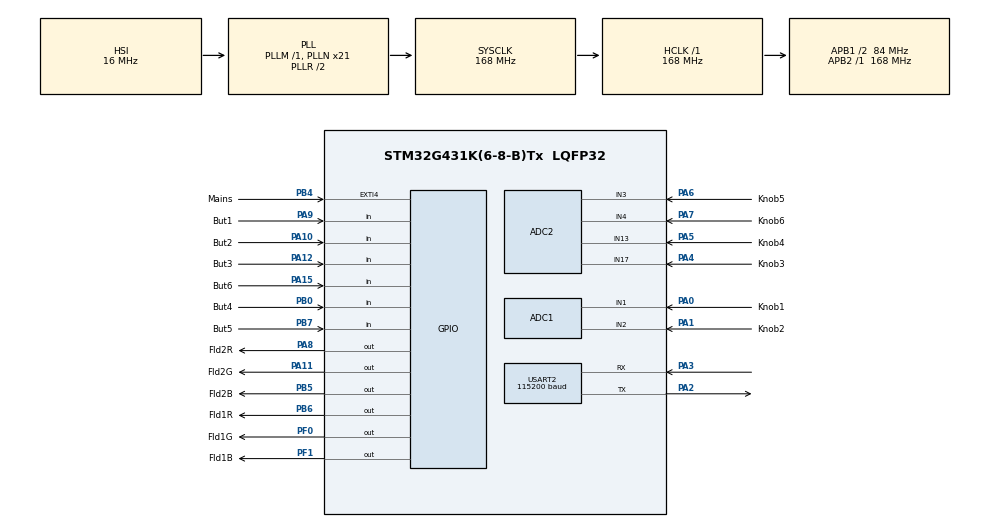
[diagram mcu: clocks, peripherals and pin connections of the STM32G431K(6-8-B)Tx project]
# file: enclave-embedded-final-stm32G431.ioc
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ADC1.Channel-1\#ChannelRegularConversion=ADC_CHANNEL_1
ADC1.ClockPrescaler=ADC_CLOCK_ASYNC_DIV4
ADC1.NbrOfConversionFlag=1
ADC1.OffsetNumber-1\#ChannelRegularConversion=ADC_OFFSET_NONE
ADC1.Rank-1\#ChannelRegularConversion=1
ADC1.SamplingTime-1\#ChannelRegularConversion=ADC_SAMPLETIME_2CYCLES_5
ADC1.master=1
ADC2.Channel-1\#ChannelRegularConversion=ADC_CHANNEL_3
ADC2.ClockPrescaler=ADC_CLOCK_ASYNC_DIV4
ADC2.NbrOfConversionFlag=1
ADC2.OffsetNumber-1\#ChannelRegularConversion=ADC_OFFSET_NONE
ADC2.Rank-1\#ChannelRegularConversion=1
ADC2.SamplingTime-1\#ChannelRegularConversion=ADC_SAMPLETIME_2CYCLES_5
Dma.Request0=USART2_RX
Dma.Request1=USART2_TX
Dma.USART2_RX.0.Direction=DMA_PERIPH_TO_MEMORY
Dma.USART2_RX.0.EventEnable=DISABLE
Dma.USART2_RX.0.Instance=DMA1_Channel5
Dma.USART2_RX.0.MemDataAlignment=DMA_MDATAALIGN_BYTE
Dma.USART2_RX.0.MemInc=DMA_MINC_ENABLE
Dma.USART2_RX.0.Mode=DMA_NORMAL
Dma.USART2_RX.0.PeriphDataAlignment=DMA_PDATAALIGN_BYTE
Dma.USART2_RX.0.PeriphInc=DMA_PINC_DISABLE
Dma.USART2_RX.0.Polarity=HAL_DMAMUX_REQ_GEN_RISING
Dma.USART2_RX.0.Priority=DMA_PRIORITY_LOW
Dma.USART2_RX.0.RequestNumber=1
Dma.USART2_RX.0.SignalID=NONE
Dma.USART2_RX.0.SyncEnable=DISABLE
Dma.USART2_RX.0.SyncPolarity=HAL_DMAMUX_SYNC_NO_EVENT
Dma.USART2_RX.0.SyncRequestNumber=1
Dma.USART2_RX.0.SyncSignalID=NONE
Dma.USART2_TX.1.Direction=DMA_MEMORY_TO_PERIPH
Dma.USART2_TX.1.EventEnable=DISABLE
Dma.USART2_TX.1.Instance=DMA1_Channel6
Dma.USART2_TX.1.MemDataAlignment=DMA_MDATAALIGN_BYTE
Dma.USART2_TX.1.MemInc=DMA_MINC_ENABLE
Dma.USART2_TX.1.Mode=DMA_NORMAL
Dma.USART2_TX.1.PeriphDataAlignment=DMA_PDATAALIGN_BYTE
Dma.USART2_TX.1.PeriphInc=DMA_PINC_DISABLE
Dma.USART2_TX.1.Polarity=HAL_DMAMUX_REQ_GEN_RISING
Dma.USART2_TX.1.Priority=DMA_PRIORITY_LOW
Dma.USART2_TX.1.RequestNumber=1
Dma.USART2_TX.1.SignalID=NONE
Dma.USART2_TX.1.SyncEnable=DISABLE
Dma.USART2_TX.1.SyncPolarity=HAL_DMAMUX_SYNC_NO_EVENT
Dma.USART2_TX.1.SyncRequestNumber=1
Dma.USART2_TX.1.SyncSignalID=NONE
Mcu.Family=STM32G4
Mcu.Name=STM32G431K(6-8-B)Tx
Mcu.Package=LQFP32
NVIC.DMA1_Channel5_IRQn=true\:0\:0\:false\:false\:true\:false\:true\:true
NVIC.DMA1_Channel6_IRQn=true\:0\:0\:false\:false\:true\:false\:true\:true
NVIC.EXTI4_IRQn=true\:0\:0\:false\:false\:true\:true\:true\:true
NVIC.PriorityGroup=NVIC_PRIORITYGROUP_4
NVIC.TIM2_IRQn=true\:0\:0\:false\:false\:true\:true\:true\:true
NVIC.TIM3_IRQn=true\:0\:0\:false\:false\:true\:true\:true\:true
NVIC.TIM4_IRQn=true\:0\:0\:false\:false\:true\:true\:true\:true
NVIC.USART2_IRQn=true\:0\:0\:false\:false\:true\:true\:true\:true
PA0.GPIO_Label=Knob1
PA0.Mode=IN1-Single-Ended
PA0.Signal=ADC1_IN1
PA1.GPIO_Label=Knob2
PA1.Mode=IN2-Single-Ended
PA1.Signal=ADC1_IN2
PA10.GPIO_Label=But2
PA10.GPIO_PuPd=GPIO_PULLDOWN
PA10.Signal=GPIO_Input
PA11.GPIO_Label=Fld2G
PA11.GPIO_Speed=GPIO_SPEED_FREQ_VERY_HIGH
PA11.Signal=GPIO_Output
PA12.GPIO_Label=But3
PA12.GPIO_PuPd=GPIO_PULLDOWN
PA12.Signal=GPIO_Input
PA15.GPIO_Label=But6
PA15.GPIO_PuPd=GPIO_PULLDOWN
PA15.Signal=GPIO_Input
PA2.Mode=Asynchronous
PA2.Signal=USART2_TX
PA3.Mode=Asynchronous
PA3.Signal=USART2_RX
PA4.GPIO_Label=Knob3
PA4.Mode=IN17-Single-Ended
PA4.Signal=ADC2_IN17
PA5.GPIO_Label=Knob4
PA5.Mode=IN13-Single-Ended
PA5.Signal=ADC2_IN13
PA6.GPIO_Label=Knob5
PA6.Mode=IN3-Single-Ended
PA6.Signal=ADC2_IN3
PA7.GPIO_Label=Knob6
PA7.Mode=IN4-Single-Ended
PA7.Signal=ADC2_IN4
PA8.GPIO_Label=Fld2R
PA8.GPIO_Speed=GPIO_SPEED_FREQ_VERY_HIGH
PA8.Signal=GPIO_Output
PA9.GPIO_Label=But1
PA9.GPIO_PuPd=GPIO_PULLDOWN
PA9.Signal=GPIO_Input
PB0.GPIO_Label=But4
PB0.GPIO_PuPd=GPIO_PULLDOWN
PB0.Signal=GPIO_Input
PB4.GPIO_Label=Mains
PB4.Signal=GPXTI4
PB5.GPIO_Label=Fld2B
PB5.GPIO_Speed=GPIO_SPEED_FREQ_VERY_HIGH
PB5.Signal=GPIO_Output
PB6.GPIO_Label=Fld1R
PB6.GPIO_Speed=GPIO_SPEED_FREQ_VERY_HIGH
PB6.Signal=GPIO_Output
PB7.GPIO_Label=But5
PB7.GPIO_PuPd=GPIO_PULLDOWN
PB7.Signal=GPIO_Input
PF0-OSC_IN.GPIO_Label=Fld1G
PF0-OSC_IN.GPIO_Speed=GPIO_SPEED_FREQ_VERY_HIGH
PF0-OSC_IN.PinState=GPIO_PIN_RESET
PF0-OSC_IN.Signal=GPIO_Output
PF1-OSC_OUT.GPIO_Label=Fld1B
PF1-OSC_OUT.GPIO_Speed=GPIO_SPEED_FREQ_VERY_HIGH
PF1-OSC_OUT.PinState=GPIO_PIN_RESET
PF1-OSC_OUT.Signal=GPIO_Output
ProjectManager.HeapSize=0x200
ProjectManager.StackSize=0x400
ProjectManager.TargetToolchain=STM32CubeIDE
RCC.ADC12Freq_Value=168000000
RCC.AHBFreq_Value=168000000
RCC.APB1CLKDivider=RCC_HCLK_DIV2
RCC.APB1Freq_Value=84000000
RCC.APB1TimFreq_Value=168000000
RCC.APB2Freq_Value=168000000
RCC.APB2TimFreq_Value=168000000
RCC.CortexFreq_Value=168000000
RCC.EXTERNAL_CLOCK_VALUE=12288000
RCC.HCLKFreq_Value=168000000
RCC.HSE_VALUE=8000000
RCC.HSI48_VALUE=48000000
RCC.HSI_VALUE=16000000
RCC.LSE_VALUE=32768
RCC.PLLN=21
RCC.SYSCLKFreq_VALUE=168000000
RCC.SYSCLKSource=RCC_SYSCLKSOURCE_PLLCLK
RCC.USBFreq_Value=168000000
RCC.VCOOutputFreq_Value=336000000
TIM2.AutoReloadPreload=TIM_AUTORELOAD_PRELOAD_ENABLE
TIM2.PeriodNoDither=7
TIM2.Prescaler=666
TIM3.AutoReloadPreload=TIM_AUTORELOAD_PRELOAD_ENABLE
TIM3.CounterMode=TIM_COUNTERMODE_UP
TIM3.PeriodNoDither=3999
TIM3.Prescaler=4199
TIM4.AutoReloadPreload=TIM_AUTORELOAD_PRELOAD_ENABLE
TIM4.PeriodNoDither=249
TIM4.Prescaler=839
USART2.BaudRate=115200
USART2.VirtualMode-Asynchronous=VM_ASYNC
VP_TIM2_VS_ClockSourceINT.Mode=Internal
VP_TIM3_VS_ClockSourceINT.Mode=Internal
VP_TIM4_VS_ClockSourceINT.Mode=Internal
board=custom

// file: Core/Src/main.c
/* USER CODE BEGIN Header */
/**
  ******************************************************************************
  * @file           : main.c
  * @brief          : Main program body
  ******************************************************************************
  * @attention
  *
  * Copyright (c) 2023 STMicroelectronics.
  * All rights reserved.
  *
  * This software is licensed under terms that can be found in the LICENSE file
  * in the root directory of this software component.
  * If no LICENSE file comes with this software, it is provided AS-IS.
  *
  ******************************************************************************
  */
/* USER CODE END Header */
#include "main.h"

/* USER CODE BEGIN Includes */
#include "math.h"
#include <stdlib.h>
#include "app_usart.h"
#include "floodlight.h"
#include "ui.h"
/* USER CODE END Includes */

ADC_HandleTypeDef hadc1;
ADC_HandleTypeDef hadc2;

TIM_HandleTypeDef htim2;
TIM_HandleTypeDef htim3;
TIM_HandleTypeDef htim4;

UART_HandleTypeDef huart2;
DMA_HandleTypeDef hdma_usart2_rx;
DMA_HandleTypeDef hdma_usart2_tx;

void SystemClock_Config(void);
static void MX_GPIO_Init(void);
static void MX_DMA_Init(void);
static void MX_ADC1_Init(void);
static void MX_ADC2_Init(void);
static void MX_TIM2_Init(void);
static void MX_TIM4_Init(void);
static void MX_TIM3_Init(void);
static void MX_USART2_UART_Init(void);

/* USER CODE BEGIN 0 */

volatile uint32_t *DWT_CONTROL = (uint32_t*) 0xE0001000;
volatile uint32_t *DWT_CYCCNT = (uint32_t*) 0xE0001004;
volatile uint32_t *DEMCR = (uint32_t*) 0xE000EDFC;
volatile uint32_t *LAR = (uint32_t*) 0xE0001FB0; // <-- added lock access register

void HAL_TIM_PeriodElapsedCallback(TIM_HandleTypeDef *htim) {
	if(isFloodlightRdy() && htim->Instance == TIM2) {
			pulseFloodlight();
	}
	if (isKnobsRdy() && htim->Instance == TIM3) {
		//Every 1/10 of a second
		pollKnobs();
	}
	else if (isButRdy() && htim->Instance == TIM4) {
		//Every 2ms
		debounceButtons();
	}
}
/* USER CODE END 0 */

int main(void)
{

  /* MCU Configuration--------------------------------------------------------*/

  /* Reset of all peripherals, Initializes the Flash interface and the Systick. */
  HAL_Init();

  /* Configure the system clock */
  SystemClock_Config();

  /* Initialize all configured peripherals */
  MX_GPIO_Init();
  MX_DMA_Init();
  MX_ADC1_Init();
  MX_ADC2_Init();
  MX_TIM2_Init();
  MX_TIM4_Init();
  MX_TIM3_Init();
  MX_USART2_UART_Init();
  /* USER CODE BEGIN 2 */
	//Start interrupts & ADC
	HAL_ADCEx_Calibration_Start(&hadc1, ADC_SINGLE_ENDED);
	HAL_ADCEx_Calibration_Start(&hadc2, ADC_SINGLE_ENDED);
	app_uart_init(&huart2);

	*DEMCR = *DEMCR | 0x01000000;     // enable trace
	*LAR = 0xC5ACCE55;    // <-- added unlock access to DWT (ITM, etc.)registers
	*DWT_CYCCNT = 0;                  // clear DWT cycle counter
	*DWT_CONTROL = *DWT_CONTROL | 1;  // enable DWT cycle counter

	//If fails config, exit program
	if (initializeFloodlightStructs())
		return 0;

	//If fails config, exit program
	if (initializeKnobStructs())
		return 0;

	//If fails config, exit program
	if (initializeButtonStructs())
		return 0;

	HAL_TIM_Base_Start_IT(&htim2);
	HAL_TIM_Base_Start_IT(&htim3);
	HAL_TIM_Base_Start_IT(&htim4);

  /* USER CODE END 2 */

  /* Infinite loop */
	while (1) {

    /* USER CODE BEGIN 3 */
		// Read all messages in buffer
		while(is_cmd_rdy())
		{
			light_cmd_t cmd = get_cmd();
			updateFloodlight(cmd.lightIdx, cmd.R, cmd.G, cmd.B);
		}
	}
  /* USER CODE END 3 */
}

void SystemClock_Config(void)
{
  RCC_OscInitTypeDef RCC_OscInitStruct = {0};
  RCC_ClkInitTypeDef RCC_ClkInitStruct = {0};

  /** Configure the main internal regulator output voltage
  */
  HAL_PWREx_ControlVoltageScaling(PWR_REGULATOR_VOLTAGE_SCALE1_BOOST);

  /** Initializes the RCC Oscillators according to the specified parameters
  * in the RCC_OscInitTypeDef structure.
  */
  RCC_OscInitStruct.OscillatorType = RCC_OSCILLATORTYPE_HSI;
  RCC_OscInitStruct.HSIState = RCC_HSI_ON;
  RCC_OscInitStruct.HSICalibrationValue = RCC_HSICALIBRATION_DEFAULT;
  RCC_OscInitStruct.PLL.PLLState = RCC_PLL_ON;
  RCC_OscInitStruct.PLL.PLLSource = RCC_PLLSOURCE_HSI;
  RCC_OscInitStruct.PLL.PLLM = RCC_PLLM_DIV1;
  RCC_OscInitStruct.PLL.PLLN = 21;
  RCC_OscInitStruct.PLL.PLLP = RCC_PLLP_DIV2;
  RCC_OscInitStruct.PLL.PLLQ = RCC_PLLQ_DIV2;
  RCC_OscInitStruct.PLL.PLLR = RCC_PLLR_DIV2;
  if (HAL_RCC_OscConfig(&RCC_OscInitStruct) != HAL_OK)
  {
    Error_Handler();
  }

  /** Initializes the CPU, AHB and APB buses clocks
  */
  RCC_ClkInitStruct.ClockType = RCC_CLOCKTYPE_HCLK|RCC_CLOCKTYPE_SYSCLK
                              |RCC_CLOCKTYPE_PCLK1|RCC_CLOCKTYPE_PCLK2;
  RCC_ClkInitStruct.SYSCLKSource = RCC_SYSCLKSOURCE_PLLCLK;
  RCC_ClkInitStruct.AHBCLKDivider = RCC_SYSCLK_DIV1;
  RCC_ClkInitStruct.APB1CLKDivider = RCC_HCLK_DIV2;
  RCC_ClkInitStruct.APB2CLKDivider = RCC_HCLK_DIV1;

  if (HAL_RCC_ClockConfig(&RCC_ClkInitStruct, FLASH_LATENCY_4) != HAL_OK)
  {
    Error_Handler();
  }
}

static void MX_ADC1_Init(void)
{

  ADC_MultiModeTypeDef multimode = {0};
  ADC_ChannelConfTypeDef sConfig = {0};

  /** Common config
  */
  hadc1.Instance = ADC1;
  hadc1.Init.ClockPrescaler = ADC_CLOCK_ASYNC_DIV4;
  hadc1.Init.Resolution = ADC_RESOLUTION_12B;
  hadc1.Init.DataAlign = ADC_DATAALIGN_RIGHT;
  hadc1.Init.GainCompensation = 0;
  hadc1.Init.ScanConvMode = ADC_SCAN_DISABLE;
  hadc1.Init.EOCSelection = ADC_EOC_SINGLE_CONV;
  hadc1.Init.LowPowerAutoWait = DISABLE;
  hadc1.Init.ContinuousConvMode = DISABLE;
  hadc1.Init.NbrOfConversion = 1;
  hadc1.Init.DiscontinuousConvMode = DISABLE;
  hadc1.Init.ExternalTrigConv = ADC_SOFTWARE_START;
  hadc1.Init.ExternalTrigConvEdge = ADC_EXTERNALTRIGCONVEDGE_NONE;
  hadc1.Init.DMAContinuousRequests = DISABLE;
  hadc1.Init.Overrun = ADC_OVR_DATA_PRESERVED;
  hadc1.Init.OversamplingMode = DISABLE;
  if (HAL_ADC_Init(&hadc1) != HAL_OK)
  {
    Error_Handler();
  }

  /** Configure the ADC multi-mode
  */
  multimode.Mode = ADC_MODE_INDEPENDENT;
  if (HAL_ADCEx_MultiModeConfigChannel(&hadc1, &multimode) != HAL_OK)
  {
    Error_Handler();
  }

  /** Configure Regular Channel
  */
  sConfig.Channel = ADC_CHANNEL_1;
  sConfig.Rank = ADC_REGULAR_RANK_1;
  sConfig.SamplingTime = ADC_SAMPLETIME_2CYCLES_5;
  sConfig.SingleDiff = ADC_SINGLE_ENDED;
  sConfig.OffsetNumber = ADC_OFFSET_NONE;
  sConfig.Offset = 0;
  if (HAL_ADC_ConfigChannel(&hadc1, &sConfig) != HAL_OK)
  {
    Error_Handler();
  }

}

static void MX_ADC2_Init(void)
{

  ADC_ChannelConfTypeDef sConfig = {0};

  /** Common config
  */
  hadc2.Instance = ADC2;
  hadc2.Init.ClockPrescaler = ADC_CLOCK_ASYNC_DIV4;
  hadc2.Init.Resolution = ADC_RESOLUTION_12B;
  hadc2.Init.DataAlign = ADC_DATAALIGN_RIGHT;
  hadc2.Init.GainCompensation = 0;
  hadc2.Init.ScanConvMode = ADC_SCAN_DISABLE;
  hadc2.Init.EOCSelection = ADC_EOC_SINGLE_CONV;
  hadc2.Init.LowPowerAutoWait = DISABLE;
  hadc2.Init.ContinuousConvMode = DISABLE;
  hadc2.Init.NbrOfConversion = 1;
  hadc2.Init.DiscontinuousConvMode = DISABLE;
  hadc2.Init.ExternalTrigConv = ADC_SOFTWARE_START;
  hadc2.Init.ExternalTrigConvEdge = ADC_EXTERNALTRIGCONVEDGE_NONE;
  hadc2.Init.DMAContinuousRequests = DISABLE;
  hadc2.Init.Overrun = ADC_OVR_DATA_PRESERVED;
  hadc2.Init.OversamplingMode = DISABLE;
  if (HAL_ADC_Init(&hadc2) != HAL_OK)
  {
    Error_Handler();
  }

  /** Configure Regular Channel
  */
  sConfig.Channel = ADC_CHANNEL_3;
  sConfig.Rank = ADC_REGULAR_RANK_1;
  sConfig.SamplingTime = ADC_SAMPLETIME_2CYCLES_5;
  sConfig.SingleDiff = ADC_SINGLE_ENDED;
  sConfig.OffsetNumber = ADC_OFFSET_NONE;
  sConfig.Offset = 0;
  if (HAL_ADC_ConfigChannel(&hadc2, &sConfig) != HAL_OK)
  {
    Error_Handler();
  }

}

static void MX_TIM2_Init(void)
{

  TIM_ClockConfigTypeDef sClockSourceConfig = {0};
  TIM_MasterConfigTypeDef sMasterConfig = {0};

  htim2.Instance = TIM2;
  htim2.Init.Prescaler = 666;
  htim2.Init.CounterMode = TIM_COUNTERMODE_UP;
  htim2.Init.Period = 7;
  htim2.Init.ClockDivision = TIM_CLOCKDIVISION_DIV1;
  htim2.Init.AutoReloadPreload = TIM_AUTORELOAD_PRELOAD_ENABLE;
  if (HAL_TIM_Base_Init(&htim2) != HAL_OK)
  {
    Error_Handler();
  }
  sClockSourceConfig.ClockSource = TIM_CLOCKSOURCE_INTERNAL;
  if (HAL_TIM_ConfigClockSource(&htim2, &sClockSourceConfig) != HAL_OK)
  {
    Error_Handler();
  }
  sMasterConfig.MasterOutputTrigger = TIM_TRGO_RESET;
  sMasterConfig.MasterSlaveMode = TIM_MASTERSLAVEMODE_DISABLE;
  if (HAL_TIMEx_MasterConfigSynchronization(&htim2, &sMasterConfig) != HAL_OK)
  {
    Error_Handler();
  }

}

static void MX_TIM3_Init(void)
{

  TIM_ClockConfigTypeDef sClockSourceConfig = {0};
  TIM_MasterConfigTypeDef sMasterConfig = {0};

  htim3.Instance = TIM3;
  htim3.Init.Prescaler = 4199;
  htim3.Init.CounterMode = TIM_COUNTERMODE_UP;
  htim3.Init.Period = 2000;
  htim3.Init.ClockDivision = TIM_CLOCKDIVISION_DIV1;
  htim3.Init.AutoReloadPreload = TIM_AUTORELOAD_PRELOAD_ENABLE;
  if (HAL_TIM_Base_Init(&htim3) != HAL_OK)
  {
    Error_Handler();
  }
  sClockSourceConfig.ClockSource = TIM_CLOCKSOURCE_INTERNAL;
  if (HAL_TIM_ConfigClockSource(&htim3, &sClockSourceConfig) != HAL_OK)
  {
    Error_Handler();
  }
  sMasterConfig.MasterOutputTrigger = TIM_TRGO_RESET;
  sMasterConfig.MasterSlaveMode = TIM_MASTERSLAVEMODE_DISABLE;
  if (HAL_TIMEx_MasterConfigSynchronization(&htim3, &sMasterConfig) != HAL_OK)
  {
    Error_Handler();
  }

}

static void MX_TIM4_Init(void)
{

  TIM_ClockConfigTypeDef sClockSourceConfig = {0};
  TIM_MasterConfigTypeDef sMasterConfig = {0};

  htim4.Instance = TIM4;
  htim4.Init.Prescaler = 839;
  htim4.Init.CounterMode = TIM_COUNTERMODE_UP;
  htim4.Init.Period = 249;
  htim4.Init.ClockDivision = TIM_CLOCKDIVISION_DIV1;
  htim4.Init.AutoReloadPreload = TIM_AUTORELOAD_PRELOAD_ENABLE;
  if (HAL_TIM_Base_Init(&htim4) != HAL_OK)
  {
    Error_Handler();
  }
  sClockSourceConfig.ClockSource = TIM_CLOCKSOURCE_INTERNAL;
  if (HAL_TIM_ConfigClockSource(&htim4, &sClockSourceConfig) != HAL_OK)
  {
    Error_Handler();
  }
  sMasterConfig.MasterOutputTrigger = TIM_TRGO_RESET;
  sMasterConfig.MasterSlaveMode = TIM_MASTERSLAVEMODE_DISABLE;
  if (HAL_TIMEx_MasterConfigSynchronization(&htim4, &sMasterConfig) != HAL_OK)
  {
    Error_Handler();
  }

}

static void MX_USART2_UART_Init(void)
{

  huart2.Instance = USART2;
  huart2.Init.BaudRate = 115200;
  huart2.Init.WordLength = UART_WORDLENGTH_8B;
  huart2.Init.StopBits = UART_STOPBITS_1;
  huart2.Init.Parity = UART_PARITY_NONE;
  huart2.Init.Mode = UART_MODE_TX_RX;
  huart2.Init.HwFlowCtl = UART_HWCONTROL_NONE;
  huart2.Init.OverSampling = UART_OVERSAMPLING_16;
  huart2.Init.OneBitSampling = UART_ONE_BIT_SAMPLE_DISABLE;
  huart2.Init.ClockPrescaler = UART_PRESCALER_DIV1;
  huart2.AdvancedInit.AdvFeatureInit = UART_ADVFEATURE_NO_INIT;
  if (HAL_UART_Init(&huart2) != HAL_OK)
  {
    Error_Handler();
  }
  if (HAL_UARTEx_SetTxFifoThreshold(&huart2, UART_TXFIFO_THRESHOLD_1_8) != HAL_OK)
  {
    Error_Handler();
  }
  if (HAL_UARTEx_SetRxFifoThreshold(&huart2, UART_RXFIFO_THRESHOLD_1_8) != HAL_OK)
  {
    Error_Handler();
  }
  if (HAL_UARTEx_DisableFifoMode(&huart2) != HAL_OK)
  {
    Error_Handler();
  }

}

static void MX_DMA_Init(void)
{

  /* DMA controller clock enable */
  __HAL_RCC_DMAMUX1_CLK_ENABLE();
  __HAL_RCC_DMA1_CLK_ENABLE();

  /* DMA interrupt init */
  /* DMA1_Channel5_IRQn interrupt configuration */
  HAL_NVIC_SetPriority(DMA1_Channel5_IRQn, 0, 0);
  HAL_NVIC_EnableIRQ(DMA1_Channel5_IRQn);
  /* DMA1_Channel6_IRQn interrupt configuration */
  HAL_NVIC_SetPriority(DMA1_Channel6_IRQn, 0, 0);
  HAL_NVIC_EnableIRQ(DMA1_Channel6_IRQn);

}

static void MX_GPIO_Init(void)
{
  GPIO_InitTypeDef GPIO_InitStruct = {0};

  /* GPIO Ports Clock Enable */
  __HAL_RCC_GPIOF_CLK_ENABLE();
  __HAL_RCC_GPIOA_CLK_ENABLE();
  __HAL_RCC_GPIOB_CLK_ENABLE();

  /*Configure GPIO pin Output Level */
  HAL_GPIO_WritePin(GPIOF, Fld1G_Pin|Fld1B_Pin, GPIO_PIN_RESET);

  /*Configure GPIO pin Output Level */
  HAL_GPIO_WritePin(GPIOA, Fld2R_Pin|Fld2G_Pin, GPIO_PIN_RESET);

  /*Configure GPIO pin Output Level */
  HAL_GPIO_WritePin(GPIOB, Fld2B_Pin|Fld1R_Pin, GPIO_PIN_RESET);

  /*Configure GPIO pins : Fld1G_Pin Fld1B_Pin */
  GPIO_InitStruct.Pin = Fld1G_Pin|Fld1B_Pin;
  GPIO_InitStruct.Mode = GPIO_MODE_OUTPUT_PP;
  GPIO_InitStruct.Pull = GPIO_NOPULL;
  GPIO_InitStruct.Speed = GPIO_SPEED_FREQ_VERY_HIGH;
  HAL_GPIO_Init(GPIOF, &GPIO_InitStruct);

  /*Configure GPIO pins : But4_Pin But5_Pin */
  GPIO_InitStruct.Pin = But4_Pin|But5_Pin;
  GPIO_InitStruct.Mode = GPIO_MODE_INPUT;
  GPIO_InitStruct.Pull = GPIO_PULLDOWN;
  HAL_GPIO_Init(GPIOB, &GPIO_InitStruct);

  /*Configure GPIO pins : Fld2R_Pin Fld2G_Pin */
  GPIO_InitStruct.Pin = Fld2R_Pin|Fld2G_Pin;
  GPIO_InitStruct.Mode = GPIO_MODE_OUTPUT_PP;
  GPIO_InitStruct.Pull = GPIO_NOPULL;
  GPIO_InitStruct.Speed = GPIO_SPEED_FREQ_VERY_HIGH;
  HAL_GPIO_Init(GPIOA, &GPIO_InitStruct);

  /*Configure GPIO pins : But1_Pin But2_Pin But3_Pin But6_Pin */
  GPIO_InitStruct.Pin = But1_Pin|But2_Pin|But3_Pin|But6_Pin;
  GPIO_InitStruct.Mode = GPIO_MODE_INPUT;
  GPIO_InitStruct.Pull = GPIO_PULLDOWN;
  HAL_GPIO_Init(GPIOA, &GPIO_InitStruct);

  /*Configure GPIO pin : Mains_Pin */
  GPIO_InitStruct.Pin = Mains_Pin;
  GPIO_InitStruct.Mode = GPIO_MODE_IT_RISING;
  GPIO_InitStruct.Pull = GPIO_NOPULL;
  HAL_GPIO_Init(Mains_GPIO_Port, &GPIO_InitStruct);

  /*Configure GPIO pins : Fld2B_Pin Fld1R_Pin */
  GPIO_InitStruct.Pin = Fld2B_Pin|Fld1R_Pin;
  GPIO_InitStruct.Mode = GPIO_MODE_OUTPUT_PP;
  GPIO_InitStruct.Pull = GPIO_NOPULL;
  GPIO_InitStruct.Speed = GPIO_SPEED_FREQ_VERY_HIGH;
  HAL_GPIO_Init(GPIOB, &GPIO_InitStruct);

  /* EXTI interrupt init*/
  HAL_NVIC_SetPriority(EXTI4_IRQn, 0, 0);
  HAL_NVIC_EnableIRQ(EXTI4_IRQn);

}

void Error_Handler(void)
{
  __disable_irq();
  while (1)
  {
  }
}
